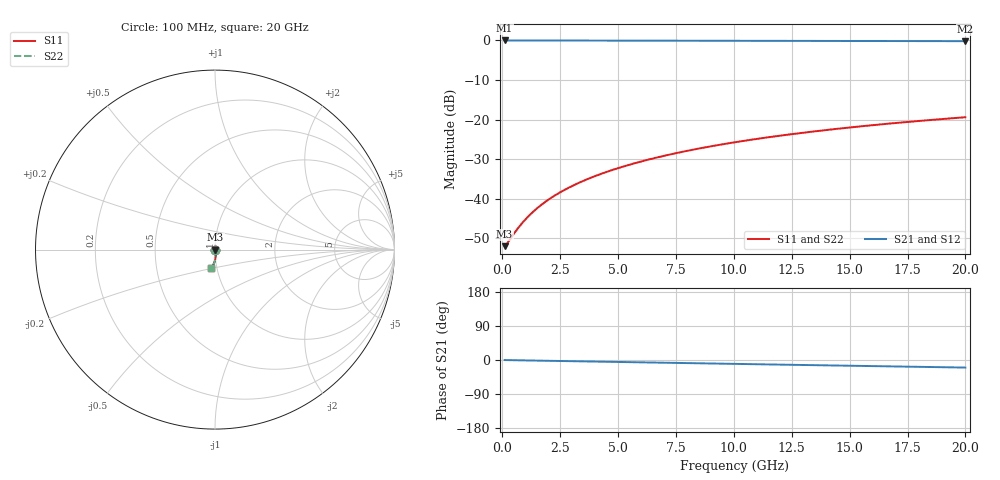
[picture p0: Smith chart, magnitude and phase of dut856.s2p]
! Touchstone file exported from HFSS 2026.1.0
!  File:  C:/ffzhzh/LocalFiles/Ansys_Project_Files/temp_train_BSMRDL_856_1783170650_43440.aedt
!  Generated:  09:11:52 PM Jul  4, 2026
!  Design:  BSMRDL
!  Project:  temp_train_BSMRDL_856_1783170650_43440
! Variables:
!  h_bsmrdl = 4.41um
!  h_ox = 20um
!  h_rdl = 5um
!  h_sub = 80um
!  h_tmrdl = 5um
!  h_tsv = 80um
!  h_via = 3um
!  l_bsmrdl = 338.48um
!  l_sub = 738.48um
!  l_tmrdl = 200um
!  m_sub = 200um
!  pitch = 13.16um
!  r_tsv = 6um
!  s_tmrdl = 10um
!  w_bsmrdl = 11.4um
!  w_sub = 500um
!  w_tmrdl = 12um
!  x_tsv_center1 = 206um
!  x_tsv_center2 = 555.88um
!  x_tsv_center3 = 767.88um
!  x_tsv_center4 = 1117.76um
!  x_tsv_center5 = 1329.76um
!  x_tsv_center6 = 1679.64um
# GHz S MA R 50.000000
! Terminal data exported
! Port[1] = BSM_RDL1_1_T1
! Port[2] = BSM_RDL1_1_T2
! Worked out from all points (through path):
!   200 points, 100 MHz to 20 GHz, reference 50 ohm
!   highest |S21| = -0.02 dB at 100 MHz (marker M1); lowest = -0.2 dB at 20 GHz (marker M2)
!   group delay of S21, straight-line fit = 2.76 ps
!   lowest |S11| = -52.0 dB at 100 MHz (marker M3), VSWR 1.01, Z = 50.3 - j0.0105 ohm
!   |S11| at or under -10 dB: start of sweep to end of sweep
!   |S22| runs from -52.0 to -19.4 dB; largest |S21 - S12| = 3.1e-15
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0.1  0.002523 -2.4  0.9975 -0.1  0.9975 -0.1  0.002523 -2.4
! Gamma 0 0 0 0
! Port Impedance 50 0 50 0
0.2  0.00271 -5.8  0.9973 -0.2  0.9973 -0.2  0.00271 -5.8
0.6  0.003972 -26.6  0.9964 -0.7  0.9964 -0.7  0.003973 -26.6
0.9  0.005101 -39.8  0.996 -1.0  0.996 -1.0  0.005102 -39.8
1.2  0.006312 -49.1  0.9957 -1.3  0.9957 -1.3  0.006313 -49.1
1.5  0.007581 -55.8  0.9955 -1.6  0.9955 -1.6  0.007582 -55.7
1.9  0.009339 -61.9  0.9953 -2.0  0.9953 -2.0  0.009341 -61.9
2.4  0.01161 -67.1  0.9949 -2.6  0.9949 -2.6  0.01162 -67.1
2.9  0.01396 -70.6  0.9946 -3.1  0.9946 -3.1  0.01396 -70.6
3.5  0.01684 -73.7  0.9941 -3.7  0.9941 -3.7  0.01685 -73.6
4.2  0.02031 -76.3  0.9935 -4.4  0.9935 -4.4  0.02031 -76.3
5  0.02438 -78.6  0.9927 -5.2  0.9927 -5.2  0.02438 -78.5
5.9  0.02907 -80.7  0.9918 -6.1  0.9918 -6.1  0.02908 -80.6
6.8  0.03387 -82.5  0.9909 -7.0  0.9909 -7.0  0.03388 -82.4
7.6  0.03821 -83.9  0.9901 -7.8  0.9901 -7.8  0.03822 -83.9
8.4  0.0426 -85.3  0.9892 -8.6  0.9892 -8.6  0.04261 -85.2
10.1  0.05204 -88.0  0.9875 -10.3  0.9875 -10.3  0.05205 -87.9
11.7  0.06099 -90.4  0.9858 -11.9  0.9858 -11.9  0.06101 -90.3
13.4  0.07052 -92.8  0.9841 -13.6  0.9841 -13.6  0.07055 -92.6
15  0.07948 -94.9  0.9824 -15.1  0.9824 -15.1  0.07951 -94.8
16.7  0.08894 -97.1  0.9807 -16.8  0.9807 -16.8  0.08898 -96.9
20  0.1071 -101.1  0.9771 -20.0  0.9771 -20.0  0.1071 -100.9
